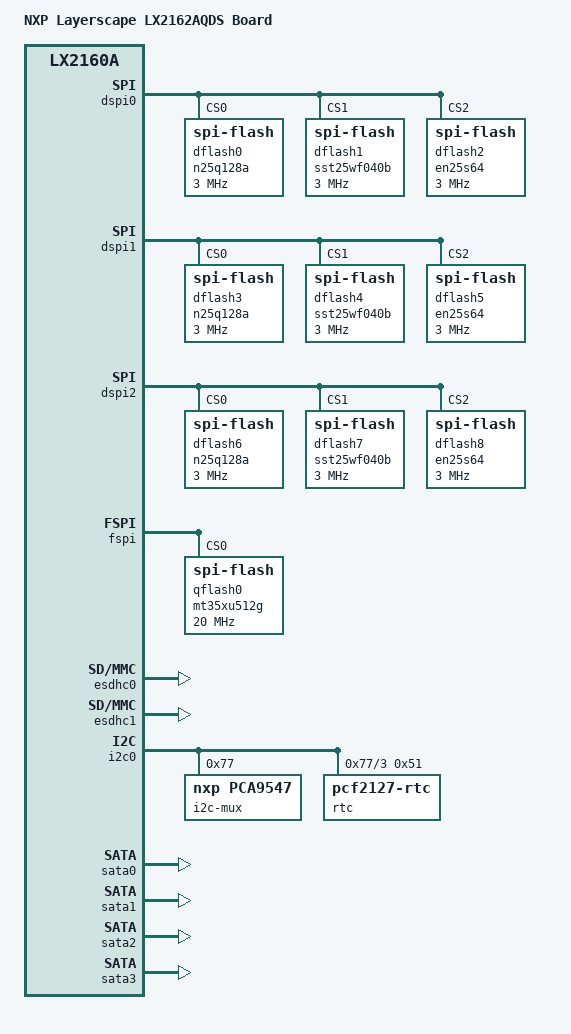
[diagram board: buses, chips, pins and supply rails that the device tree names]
// SPDX-License-Identifier: GPL-2.0+ OR X11
/*
 * NXP LX2162AQDS device tree source
 *
 * Copyright 2020 NXP
 *
 */

/dts-v1/;

#include "fsl-lx2160a.dtsi"

/ {
	model = "NXP Layerscape LX2162AQDS Board";
	compatible = "fsl,lx2162aqds", "fsl,lx2160a";

	aliases {
		spi0 = &fspi;
		spi1 = &dspi0;
		spi2 = &dspi1;
		spi3 = &dspi2;

		pcie@3500000 {
			status = "disabled";
		};

		pcie@3800000 {
			status = "disabled";
		};

		pcie@3900000 {
			status = "disabled";
		};
	};
};

&dspi0 {
	bus-num = <0>;
	status = "okay";

	dflash0: n25q128a {
		#address-cells = <1>;
		#size-cells = <1>;
		compatible = "spi-flash";
		spi-max-frequency = <3000000>;
		spi-cpol;
		spi-cpha;
		reg = <0>;
	};
	dflash1: sst25wf040b {
		#address-cells = <1>;
		#size-cells = <1>;
		compatible = "spi-flash";
		spi-max-frequency = <3000000>;
		spi-cpol;
		spi-cpha;
		reg = <1>;
	};
	dflash2: en25s64 {
		#address-cells = <1>;
		#size-cells = <1>;
		compatible = "spi-flash";
		spi-max-frequency = <3000000>;
		spi-cpol;
		spi-cpha;
		reg = <2>;
	};
};

&dspi1 {
	bus-num = <0>;
	status = "okay";

	dflash3: n25q128a {
		#address-cells = <1>;
		#size-cells = <1>;
		compatible = "spi-flash";
		spi-max-frequency = <3000000>;
		spi-cpol;
		spi-cpha;
		reg = <0>;
	};
	dflash4: sst25wf040b {
		#address-cells = <1>;
		#size-cells = <1>;
		compatible = "spi-flash";
		spi-max-frequency = <3000000>;
		spi-cpol;
		spi-cpha;
		reg = <1>;
	};
	dflash5: en25s64 {
		#address-cells = <1>;
		#size-cells = <1>;
		compatible = "spi-flash";
		spi-max-frequency = <3000000>;
		spi-cpol;
		spi-cpha;
		reg = <2>;
	};
};

&dspi2 {
	bus-num = <0>;
	status = "okay";

	dflash6: n25q128a {
		#address-cells = <1>;
		#size-cells = <1>;
		compatible = "spi-flash";
		spi-max-frequency = <3000000>;
		spi-cpol;
		spi-cpha;
		reg = <0>;
	};
	dflash7: sst25wf040b {
		#address-cells = <1>;
		#size-cells = <1>;
		compatible = "spi-flash";
		spi-max-frequency = <3000000>;
		spi-cpol;
		spi-cpha;
		reg = <1>;
	};
	dflash8: en25s64 {
		#address-cells = <1>;
		#size-cells = <1>;
		compatible = "spi-flash";
		spi-max-frequency = <3000000>;
		spi-cpol;
		spi-cpha;
		reg = <2>;
	};
};
&fspi {
	bus-num = <0>;
	status = "okay";
	fspi-has-second-chip;

	qflash0: mt35xu512g@0 {
		#address-cells = <1>;
		#size-cells = <1>;
		compatible = "spi-flash";
		spi-max-frequency = <20000000>;
		reg = <0>;
		/* The following setting enables 1-1-8 (CMD-ADDR-DATA) mode */
		fspi-rx-bus-width = <8>; /* 8 FSPI Rx lines */
		fspi-tx-bus-width = <1>; /* 1 FSPI Tx line */
	};

	/*
	 * MCR2[SAMEDEVICEEN] bit is enabled in FlexSPI controller for
	 * LX2160ARDB and LX2160AQDS board. Both these has same type of flash
	 * slave devices connected on both A0 and A1.
	 * No need to provide node info for second flash device.
	 */
};

&usb1 {
	status = "disabled";
};

&esdhc0 {
	status = "okay";
};

&esdhc1 {
	status = "okay";
};

&i2c0 {
	status = "okay";
	u-boot,dm-pre-reloc;

	i2c-mux@77 {
		compatible = "nxp,pca9547";
		reg = <0x77>;
		#address-cells = <1>;
		#size-cells = <0>;

		i2c@3 {
			#address-cells = <1>;
			#size-cells = <0>;
			reg = <0x3>;

			rtc@51 {
				compatible = "pcf2127-rtc";
				reg = <0x51>;
			};
		};
	};
};

&sata0 {
	status = "okay";
};

&sata1 {
	status = "okay";
};

&sata2 {
	status = "okay";
};

&sata3 {
	status = "okay";
};
